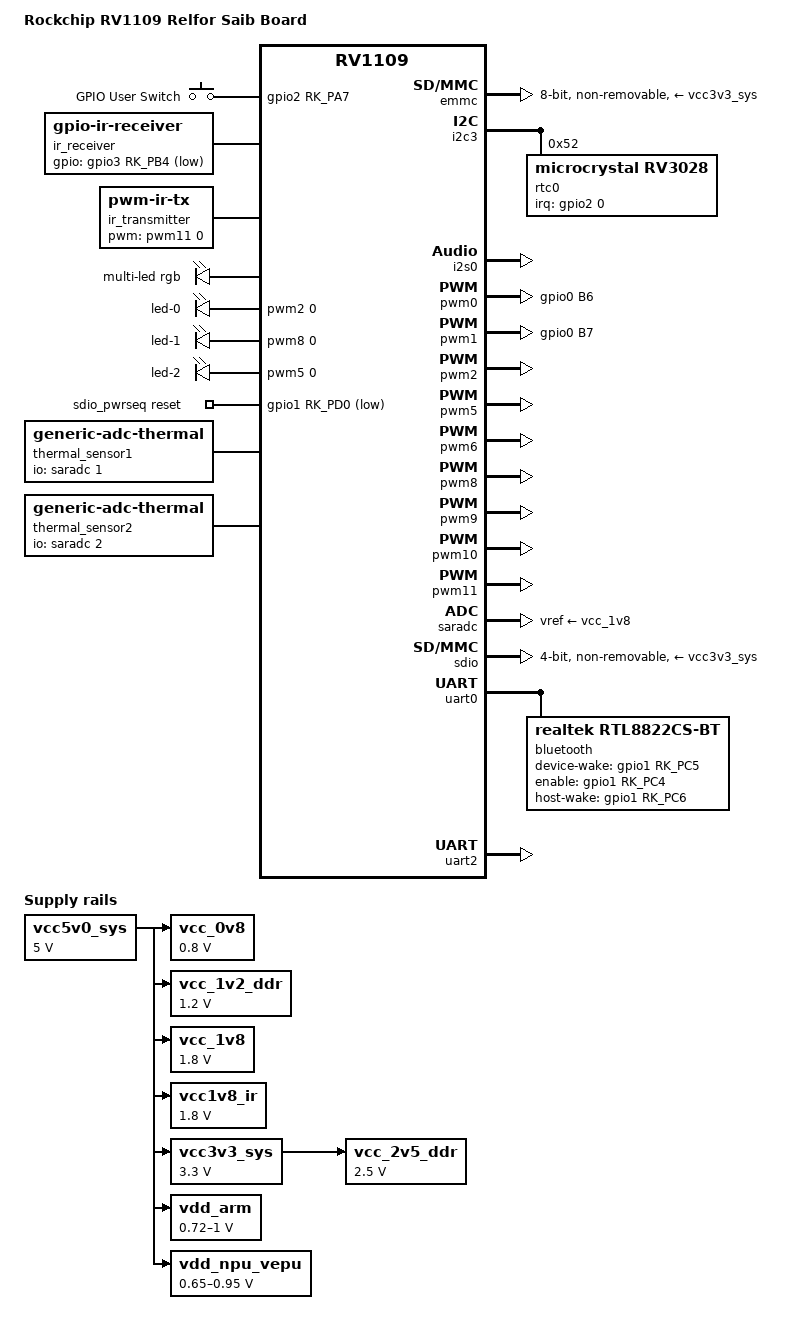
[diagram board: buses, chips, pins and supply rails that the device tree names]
// SPDX-License-Identifier: (GPL-2.0+ OR MIT)
/*
 * Copyright (c) 2024 Relfor Labs Pvt. Ltd.
 */


/dts-v1/;
#include "rv1109.dtsi"
#include <dt-bindings/leds/common.h>
#include <dt-bindings/input/input.h>

/ {
	model = "Rockchip RV1109 Relfor Saib Board";
	compatible = "relfor,saib", "rockchip,rv1109";

	gpio-keys {
		compatible = "gpio-keys";

		button {
			gpios = <&gpio2 RK_PA7 GPIO_ACTIVE_HIGH>;
			linux,code = <KEY_DATA>;
			label = "GPIO User Switch";
			linux,input-type = <1>;
		};
	};

	ir_receiver: ir-receiver {
		compatible = "gpio-ir-receiver";
		gpios = <&gpio3  RK_PB4 GPIO_ACTIVE_LOW>;
		pinctrl-names = "default";
		pinctrl-0 = <&ir_rx>;
	};

	ir_transmitter: ir-transmitter {
		compatible = "pwm-ir-tx";
		pwms = <&pwm11 0 10000000 1>;
	};

	led-controller {
		compatible = "pwm-leds-multicolor";

		multi-led {
			color = <LED_COLOR_ID_RGB>;
			function = LED_FUNCTION_INDICATOR;
			max-brightness = <65535>;

			led-0 {
				active-low;
				color = <LED_COLOR_ID_BLUE>;
				pwms = <&pwm9 0 50000 0>;
			};

			led-1 {
				active-low;
				color = <LED_COLOR_ID_GREEN>;
				pwms = <&pwm6 0 50000 0>;
			};

			led-2 {
				active-low;
				color = <LED_COLOR_ID_RED>;
				pwms = <&pwm10 0 50000 0>;
			};
		};
	};

	pwm-leds {
		compatible = "pwm-leds";

		led-0 {
			pwms = <&pwm2 0 50000 0>;
			max-brightness = <255>;
			linux,default-trigger = "none";
		};

		led-1 {
			pwms = <&pwm8 0 50000 0>;
			max-brightness = <0>;
			linux,default-trigger = "none";
		};

		led-2 {
			pwms = <&pwm5 0 50000 0>;
			max-brightness = <255>;
			linux,default-trigger = "none";
		};
	};

	sdio_pwrseq: pwrseq-sdio {
		compatible = "mmc-pwrseq-simple";
		clocks = <&rtc0>;
		clock-names = "ext_clock";
		pinctrl-names = "default";
		pinctrl-0 = <&wifi_enable_h>;
		reset-gpios = <&gpio1 RK_PD0 GPIO_ACTIVE_LOW>;
	};

	vcc_0v8: regulator-vcc-0v8 {
		compatible = "regulator-fixed";
		regulator-name = "vcc_0v8";
		regulator-min-microvolt = <800000>;
		regulator-max-microvolt = <800000>;
		regulator-always-on;
		regulator-boot-on;
		startup-delay-us = <150>;
		vin-supply = <&vcc5v0_sys>;
	};

	vcc_1v2_ddr: regulator-vcc-1v2-ddr {
		compatible = "regulator-fixed";
		regulator-name = "vcc_1v2_ddr";
		regulator-min-microvolt = <1200000>;
		regulator-max-microvolt = <1200000>;
		regulator-always-on;
		regulator-boot-on;
		startup-delay-us = <75000>;
		vin-supply = <&vcc5v0_sys>;
	};

	vcc_1v8: regulator-vcc-1v8 {
		compatible = "regulator-fixed";
		regulator-name = "vcc_1v8";
		regulator-min-microvolt = <1800000>;
		regulator-max-microvolt = <1800000>;
		regulator-always-on;
		regulator-boot-on;
		startup-delay-us = <51000>;
		vin-supply = <&vcc5v0_sys>;
	};

	vcc1v8_ir: regulator-vcc1v8-ir {
		compatible = "regulator-fixed";
		regulator-name = "vcc1v8_ir";
		regulator-min-microvolt = <1800000>;
		regulator-max-microvolt = <1800000>;
		regulator-always-on;
		regulator-boot-on;
		vin-supply = <&vcc5v0_sys>;
	};

	vcc_2v5_ddr: regulator-vcc-2v5-ddr {
		compatible = "regulator-fixed";
		regulator-name = "vcc_2v5_ddr";
		regulator-min-microvolt = <2500000>;
		regulator-max-microvolt = <2500000>;
		regulator-always-on;
		regulator-boot-on;
		vin-supply = <&vcc3v3_sys>;
	};

	vcc3v3_sys: regulator-vcc3v3-sys {
		compatible = "regulator-fixed";
		regulator-name = "vcc3v3_sys";
		regulator-min-microvolt = <3300000>;
		regulator-max-microvolt = <3300000>;
		regulator-always-on;
		regulator-boot-on;
		startup-delay-us = <75000>;
		vin-supply = <&vcc5v0_sys>;
	};

	vcc5v0_sys: regulator-vcc5v0-sys {
		compatible = "regulator-fixed";
		regulator-name = "vcc5v0_sys";
		regulator-min-microvolt = <5000000>;
		regulator-max-microvolt = <5000000>;
		regulator-always-on;
		regulator-boot-on;
	};

	vdd_arm: regulator-vdd-arm {
		compatible = "pwm-regulator";
		pwms = <&pwm0 0 5000 1>;
		regulator-name = "vdd_arm";
		regulator-min-microvolt = <720000>;
		regulator-max-microvolt = <1000000>;
		regulator-settling-time-up-us = <18000>;
		regulator-always-on;
		regulator-boot-on;
		pwm-supply = <&vcc3v3_sys>;
		vin-supply = <&vcc5v0_sys>;
	};

	vdd_npu_vepu: regulator-vdd-npu-vepu {
		compatible = "pwm-regulator";
		pwms = <&pwm1 0 5000 1>;
		regulator-name = "vdd_npu_vepu";
		regulator-min-microvolt = <650000>;
		regulator-max-microvolt = <950000>;
		regulator-settling-time-up-us = <18000>;
		regulator-always-on;
		regulator-boot-on;
		pwm-supply = <&vcc3v3_sys>;
		vin-supply = <&vcc5v0_sys>;
	};

	thermal_sensor1: thermal-sensor1 {
		compatible = "generic-adc-thermal";
		#thermal-sensor-cells = <0>;
		io-channels = <&saradc 1>;
		io-channel-names = "sensor-channel";
		temperature-lookup-table = <(-40000) 826
					     85000 609>;
	};

	thermal_sensor2: thermal-sensor2 {
		compatible = "generic-adc-thermal";
		#thermal-sensor-cells = <0>;
		io-channels = <&saradc 2>;
		io-channel-names = "sensor-channel";
		temperature-lookup-table = <(-40000) 826
					     85000 609>;
	};
};

&cpu0 {
	cpu-supply = <&vdd_arm>;
};

&cpu1 {
	cpu-supply = <&vdd_arm>;
};

&emmc {
	bus-width = <8>;
	non-removable;
	pinctrl-0 = <&emmc_bus8 &emmc_cmd &emmc_clk>;
	pinctrl-names = "default";
	rockchip,default-sample-phase = <90>;
	vmmc-supply = <&vcc3v3_sys>;
	status = "okay";
};

&i2c3 {
	pinctrl-0 = <&i2c3m2_xfer>;
	pinctrl-names = "default";
	status = "okay";

	rtc0: rtc@52 {
		compatible = "microcrystal,rv3028";
		reg = <0x52>;
		#clock-cells = <0>;
		interrupt-parent = <&gpio2>;
		interrupts = <0 IRQ_TYPE_LEVEL_LOW>;
		pinctrl-0 = <&rtc_int>;
		pinctrl-names = "default";
	};
};

&i2s0 {
	/delete-property/ pinctrl-0;
	rockchip,trcm-sync-rx-only;
	pinctrl-0 =  <&i2s0m0_sclk_rx>,
		     <&i2s0m0_lrck_rx>,
		     <&i2s0m0_sdi0>;
	pinctrl-names = "default";
	status = "okay";
};

&pinctrl {
	bluetooth-pins {
		bt_reset: bt-reset {
			rockchip,pins =
			<1 RK_PC4 RK_FUNC_GPIO &pcfg_pull_none>;
		};
		bt_wake_dev: bt-wake-dev {
			rockchip,pins =
			<1 RK_PC5 RK_FUNC_GPIO &pcfg_pull_none>;
		};
		bt_wake_host: bt-wake-host {
			rockchip,pins =
			<1 RK_PC6 RK_FUNC_GPIO &pcfg_pull_down>;
		};
	};

	buttons {
		switch: switch {
			rockchip,pins = <2 RK_PA7 RK_FUNC_GPIO &pcfg_pull_up>;
		};
	};

	ir {
		ir_rx: ir-rx {
			rockchip,pins = <3 RK_PB4 RK_FUNC_GPIO &pcfg_pull_none>;
		};
	};

	pwm {
		pwm0m0_pins_pull_up: pwm0m0-pins-pull-up {
			rockchip,pins =
			/* pwm0_pin_m0 */
			<0 RK_PB6 3 &pcfg_pull_up>;
		};
		pwm1m0_pins_pull_up: pwm1m0-pins-pull-up {
			rockchip,pins =
			/* pwm1_pin_m0 */
			<0 RK_PB7 3 &pcfg_pull_up>;
		};
	};

	rtc {
		rtc_int: rtc-int {
			rockchip,pins = <2 RK_PA0 RK_FUNC_GPIO &pcfg_pull_up>;
		};
	};

	sdio-pwrseq {
		wifi_enable_h: wifi-enable-h {
			rockchip,pins = <1 RK_PD0 RK_FUNC_GPIO &pcfg_pull_none>;
		};
	};
};

&pmu_io_domains {
	pmuio0-supply = <&vcc3v3_sys>;
	pmuio1-supply = <&vcc3v3_sys>;
	vccio4-supply = <&vcc3v3_sys>;
	vccio5-supply = <&vcc3v3_sys>;
	vccio6-supply = <&vcc3v3_sys>;
	vccio7-supply = <&vcc3v3_sys>;
	status = "okay";
};

&pwm0 {
	/delete-property/ pinctrl-0;
	pinctrl-0 = <&pwm0m0_pins_pull_up>;
	pinctrl-names = "default";
	status = "okay";
};

&pwm1 {
	/delete-property/ pinctrl-0;
	pinctrl-0 = <&pwm1m0_pins_pull_up>;
	pinctrl-names = "default";
	status = "okay";
};

&pwm2 {
	/delete-property/ pinctrl-0;
	pinctrl-0 = <&pwm2m1_pins>;
	pinctrl-names = "default";
	status = "okay";
};

&pwm5 {
	pinctrl-0 = <&pwm5m0_pins>;
	pinctrl-names = "default";
	status = "okay";
};

&pwm6 {
	pinctrl-0 = <&pwm6m0_pins>;
	pinctrl-names = "default";
	status = "okay";
};

&pwm8 {
	pinctrl-0 = <&pwm8m1_pins>;
	pinctrl-names = "default";
	status = "okay";
};

&pwm9 {
	pinctrl-0 = <&pwm9m1_pins>;
	pinctrl-names = "default";
	status = "okay";
};

&pwm10 {
	pinctrl-0 = <&pwm10m1_pins>;
	pinctrl-names = "default";
	status = "okay";
};

&pwm11 {
	/delete-property/ pinctrl-0;
	pinctrl-0 = <&pwm11m1_pins>;
	pinctrl-names = "default";
	status = "okay";
};

&saradc {
	vref-supply = <&vcc_1v8>;
	status = "okay";
};

&sdio {
	bus-width = <4>;
	cap-sd-highspeed;
	cap-sdio-irq;
	max-frequency = <100000000>;
	mmc-pwrseq = <&sdio_pwrseq>;
	no-mmc;
	no-sd;
	non-removable;
	pinctrl-0 = <&sdmmc1_clk &sdmmc1_cmd &sdmmc1_bus4>;
	pinctrl-names = "default";
	sd-uhs-sdr104;
	vmmc-supply = <&vcc3v3_sys>;
	status = "okay";
};

&uart0 {
	pinctrl-0 = <&uart0_xfer &uart0_ctsn &uart0_rtsn>;
	pinctrl-names = "default";
	status = "okay";

	bluetooth {
		compatible = "realtek,rtl8822cs-bt";
		device-wake-gpios = <&gpio1 RK_PC5 GPIO_ACTIVE_HIGH>;
		enable-gpios = <&gpio1 RK_PC4 GPIO_ACTIVE_HIGH>;
		host-wake-gpios = <&gpio1 RK_PC6 GPIO_ACTIVE_HIGH>;
		pinctrl-0 = <&bt_reset>, <&bt_wake_dev>, <&bt_wake_host>;
		pinctrl-names = "default";
	};
};

&uart2 {
	pinctrl-0 = <&uart2m1_xfer>;
	pinctrl-names = "default";
	status = "okay";
};
